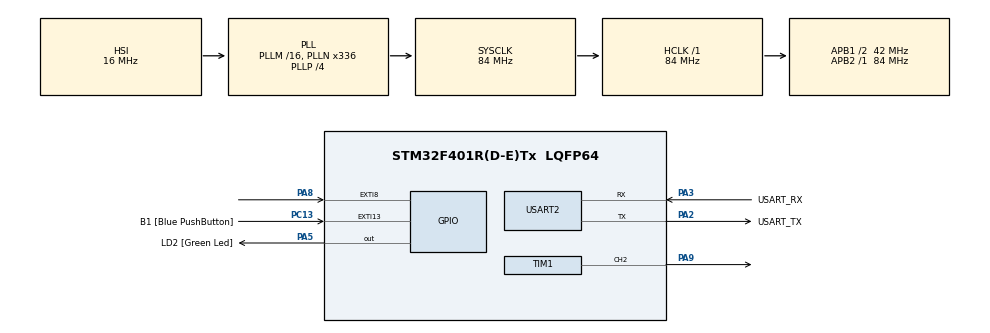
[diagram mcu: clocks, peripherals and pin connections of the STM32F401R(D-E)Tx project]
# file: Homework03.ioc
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Mcu.Family=STM32F4
Mcu.Name=STM32F401R(D-E)Tx
Mcu.Package=LQFP64
NVIC.EXTI9_5_IRQn=true\:1\:0\:true\:false\:true\:true\:true\:true
NVIC.PriorityGroup=NVIC_PRIORITYGROUP_4
PA13.GPIO_Label=TMS
PA13.Mode=Trace_Asynchronous_SW
PA13.Signal=SYS_JTMS-SWDIO
PA14.GPIO_Label=TCK
PA14.Mode=Trace_Asynchronous_SW
PA14.Signal=SYS_JTCK-SWCLK
PA2.GPIO_Label=USART_TX
PA2.GPIO_Mode=GPIO_MODE_AF_PP
PA2.GPIO_PuPd=GPIO_NOPULL
PA2.GPIO_Speed=GPIO_SPEED_FREQ_LOW
PA2.Mode=Asynchronous
PA2.Signal=USART2_TX
PA3.GPIO_Label=USART_RX
PA3.GPIO_Mode=GPIO_MODE_AF_PP
PA3.GPIO_PuPd=GPIO_NOPULL
PA3.GPIO_Speed=GPIO_SPEED_FREQ_LOW
PA3.Mode=Asynchronous
PA3.Signal=USART2_RX
PA5.GPIO_Label=LD2 [Green Led]
PA5.GPIO_Mode=GPIO_MODE_OUTPUT_PP
PA5.GPIO_PuPd=GPIO_NOPULL
PA5.GPIO_Speed=GPIO_SPEED_FREQ_LOW
PA5.Signal=GPIO_Output
PA8.GPIO_ModeDefaultEXTI=GPIO_MODE_IT_RISING
PA8.Signal=GPXTI8
PA9.Signal=S_TIM1_CH2
PB3.GPIO_Label=SWO
PB3.Mode=Trace_Asynchronous_SW
PB3.Signal=SYS_JTDO-SWO
PC13-ANTI_TAMP.GPIO_Label=B1 [Blue PushButton]
PC13-ANTI_TAMP.GPIO_ModeDefaultEXTI=GPIO_MODE_IT_FALLING
PC13-ANTI_TAMP.GPIO_PuPd=GPIO_NOPULL
PC13-ANTI_TAMP.Signal=GPXTI13
PC14-OSC32_IN.Mode=LSE-External-Oscillator
PC14-OSC32_IN.Signal=RCC_OSC32_IN
PC15-OSC32_OUT.Mode=LSE-External-Oscillator
PC15-OSC32_OUT.Signal=RCC_OSC32_OUT
PH0\ -\ OSC_IN.Mode=HSE-External-Clock-Source
PH0\ -\ OSC_IN.Signal=RCC_OSC_IN
PH1\ -\ OSC_OUT.Mode=HSE-External-Clock-Source
PH1\ -\ OSC_OUT.Signal=RCC_OSC_OUT
ProjectManager.HeapSize=0x200
ProjectManager.StackSize=0x400
ProjectManager.TargetToolchain=STM32CubeIDE
RCC.48MHZClocksFreq_Value=48000000
RCC.AHBFreq_Value=84000000
RCC.APB1CLKDivider=RCC_HCLK_DIV2
RCC.APB1Freq_Value=42000000
RCC.APB1TimFreq_Value=84000000
RCC.APB2Freq_Value=84000000
RCC.APB2TimFreq_Value=84000000
RCC.CortexFreq_Value=84000000
RCC.HCLKFreq_Value=84000000
RCC.HSE_VALUE=8000000
RCC.HSI_VALUE=16000000
RCC.PLLN=336
RCC.PLLP=RCC_PLLP_DIV4
RCC.PLLQ=7
RCC.SYSCLKFreq_VALUE=84000000
RCC.SYSCLKSource=RCC_SYSCLKSOURCE_PLLCLK
RCC.VCOOutputFreq_Value=336000000
SH.S_TIM1_CH2.0=TIM1_CH2,PWM Generation2 CH2
TIM1.Channel-PWM\ Generation2\ CH2=TIM_CHANNEL_2
USART2.VirtualMode=VM_ASYNC
board=NUCLEO-F401RE

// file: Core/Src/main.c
/* USER CODE BEGIN Header */
/**
  ******************************************************************************
  * @file           : main.c
  * @brief          : Main program body
  ******************************************************************************
  * @attention
  *
  * Copyright (c) 2025 STMicroelectronics.
  * All rights reserved.
  *
  * This software is licensed under terms that can be found in the LICENSE file
  * in the root directory of this software component.
  * If no LICENSE file comes with this software, it is provided AS-IS.
  *
  ******************************************************************************
  */
/* USER CODE END Header */
#include "main.h"

/* USER CODE BEGIN PTD */
typedef struct {
	uint32_t freq;
	uint32_t duration;
} note_t;

/* USER CODE END PTD */

/* USER CODE BEGIN PD */

#define DO4 3206
#define REb4 3032
#define RE4 2857
#define Mib4 2700
#define MI4 2545
#define FA4 2406
#define SOLb4 2270
#define SOL4 2142
#define LAb4 2024
#define LA4 1909
#define SIb4 1802
#define SI4 1700

#define REb5 1506
#define FA5 1203

#define TEMPO 100
/* USER CODE END PD */

TIM_HandleTypeDef htim1;

UART_HandleTypeDef huart2;

/* USER CODE BEGIN PV */

note_t song[] = {
		{ .freq = DO4 , .duration = 2 },
		{ .freq = RE4 , .duration = 2 },
		{ .freq = MI4 , .duration = 2 },
		{ .freq = FA4 , .duration = 2 },
		{ .freq = SOL4 , .duration = 2 }
};
/* USER CODE END PV */

void SystemClock_Config(void);
static void MX_GPIO_Init(void);
static void MX_USART2_UART_Init(void);
static void MX_TIM1_Init(void);

/* USER CODE BEGIN 0 */
void Set_Note(note_t n) {

	  /* USER CODE BEGIN TIM1_Init 0 */

	  /* USER CODE END TIM1_Init 0 */

	  TIM_MasterConfigTypeDef sMasterConfig = {0};
	  TIM_OC_InitTypeDef sConfigOC = {0};
	  TIM_BreakDeadTimeConfigTypeDef sBreakDeadTimeConfig = {0};

	  /* USER CODE BEGIN TIM1_Init 1 */

	  /* USER CODE END TIM1_Init 1 */
	  htim1.Instance = TIM1;
	  htim1.Init.Prescaler = 99;
	  htim1.Init.CounterMode = TIM_COUNTERMODE_UP;
	  htim1.Init.Period = n.freq - 1;
	  htim1.Init.ClockDivision = TIM_CLOCKDIVISION_DIV1;
	  htim1.Init.RepetitionCounter = 0;
	  htim1.Init.AutoReloadPreload = TIM_AUTORELOAD_PRELOAD_DISABLE;
	  if (HAL_TIM_PWM_Init(&htim1) != HAL_OK)
	  {
	    Error_Handler();
	  }
	  sMasterConfig.MasterOutputTrigger = TIM_TRGO_RESET;
	  sMasterConfig.MasterSlaveMode = TIM_MASTERSLAVEMODE_DISABLE;
	  if (HAL_TIMEx_MasterConfigSynchronization(&htim1, &sMasterConfig) != HAL_OK)
	  {
	    Error_Handler();
	  }
	  sConfigOC.OCMode = TIM_OCMODE_PWM1;
	  sConfigOC.Pulse = n.freq / 2 - 1;
	  sConfigOC.OCPolarity = TIM_OCPOLARITY_HIGH;
	  sConfigOC.OCNPolarity = TIM_OCNPOLARITY_HIGH;
	  sConfigOC.OCFastMode = TIM_OCFAST_DISABLE;
	  sConfigOC.OCIdleState = TIM_OCIDLESTATE_RESET;
	  sConfigOC.OCNIdleState = TIM_OCNIDLESTATE_RESET;
	  if (HAL_TIM_PWM_ConfigChannel(&htim1, &sConfigOC, TIM_CHANNEL_2) != HAL_OK)
	  {
	    Error_Handler();
	  }
	  sBreakDeadTimeConfig.OffStateRunMode = TIM_OSSR_DISABLE;
	  sBreakDeadTimeConfig.OffStateIDLEMode = TIM_OSSI_DISABLE;
	  sBreakDeadTimeConfig.LockLevel = TIM_LOCKLEVEL_OFF;
	  sBreakDeadTimeConfig.DeadTime = 0;
	  sBreakDeadTimeConfig.BreakState = TIM_BREAK_DISABLE;
	  sBreakDeadTimeConfig.BreakPolarity = TIM_BREAKPOLARITY_HIGH;
	  sBreakDeadTimeConfig.AutomaticOutput = TIM_AUTOMATICOUTPUT_DISABLE;
	  if (HAL_TIMEx_ConfigBreakDeadTime(&htim1, &sBreakDeadTimeConfig) != HAL_OK)
	  {
	    Error_Handler();
	  }
	  /* USER CODE BEGIN TIM1_Init 2 */

	  /* USER CODE END TIM1_Init 2 */
	  HAL_TIM_MspPostInit(&htim1);

}

void playsong() {
	uint8_t i=0;
	  for(i=0; i<sizeof(song)/sizeof(song[0]); i++){
		  Set_Note(song[i]);
		  HAL_TIM_PWM_Start(&htim1, TIM_CHANNEL_2);
		  HAL_Delay(song[i].duration * TEMPO);
		  HAL_TIM_PWM_Stop(&htim1, TIM_CHANNEL_2);
	  }
}

void HAL_GPIO_EXTI_Callback(uint16_t GPIO_Pin) {
	if (GPIO_Pin == GPIO_PIN_8) {
		playsong();
		__HAL_GPIO_EXTI_CLEAR_IT(GPIO_PIN_8);
	}
}
/* USER CODE END 0 */

int main(void)
{

  /* MCU Configuration--------------------------------------------------------*/

  /* Reset of all peripherals, Initializes the Flash interface and the Systick. */
  HAL_Init();

  /* Configure the system clock */
  SystemClock_Config();

  /* Initialize all configured peripherals */
  MX_GPIO_Init();
  MX_USART2_UART_Init();
  MX_TIM1_Init();

  /* Infinite loop */
  while (1)
  {

  }
}

void SystemClock_Config(void)
{
  RCC_OscInitTypeDef RCC_OscInitStruct = {0};
  RCC_ClkInitTypeDef RCC_ClkInitStruct = {0};

  /** Configure the main internal regulator output voltage
  */
  __HAL_RCC_PWR_CLK_ENABLE();
  __HAL_PWR_VOLTAGESCALING_CONFIG(PWR_REGULATOR_VOLTAGE_SCALE2);

  /** Initializes the RCC Oscillators according to the specified parameters
  * in the RCC_OscInitTypeDef structure.
  */
  RCC_OscInitStruct.OscillatorType = RCC_OSCILLATORTYPE_HSI;
  RCC_OscInitStruct.HSIState = RCC_HSI_ON;
  RCC_OscInitStruct.HSICalibrationValue = RCC_HSICALIBRATION_DEFAULT;
  RCC_OscInitStruct.PLL.PLLState = RCC_PLL_ON;
  RCC_OscInitStruct.PLL.PLLSource = RCC_PLLSOURCE_HSI;
  RCC_OscInitStruct.PLL.PLLM = 16;
  RCC_OscInitStruct.PLL.PLLN = 336;
  RCC_OscInitStruct.PLL.PLLP = RCC_PLLP_DIV4;
  RCC_OscInitStruct.PLL.PLLQ = 7;
  if (HAL_RCC_OscConfig(&RCC_OscInitStruct) != HAL_OK)
  {
    Error_Handler();
  }

  /** Initializes the CPU, AHB and APB buses clocks
  */
  RCC_ClkInitStruct.ClockType = RCC_CLOCKTYPE_HCLK|RCC_CLOCKTYPE_SYSCLK
                              |RCC_CLOCKTYPE_PCLK1|RCC_CLOCKTYPE_PCLK2;
  RCC_ClkInitStruct.SYSCLKSource = RCC_SYSCLKSOURCE_PLLCLK;
  RCC_ClkInitStruct.AHBCLKDivider = RCC_SYSCLK_DIV1;
  RCC_ClkInitStruct.APB1CLKDivider = RCC_HCLK_DIV2;
  RCC_ClkInitStruct.APB2CLKDivider = RCC_HCLK_DIV1;

  if (HAL_RCC_ClockConfig(&RCC_ClkInitStruct, FLASH_LATENCY_2) != HAL_OK)
  {
    Error_Handler();
  }
}

static void MX_TIM1_Init(void)
{

  TIM_MasterConfigTypeDef sMasterConfig = {0};
  TIM_OC_InitTypeDef sConfigOC = {0};
  TIM_BreakDeadTimeConfigTypeDef sBreakDeadTimeConfig = {0};

  htim1.Instance = TIM1;
  htim1.Init.Prescaler = 0;
  htim1.Init.CounterMode = TIM_COUNTERMODE_UP;
  htim1.Init.Period = 65535;
  htim1.Init.ClockDivision = TIM_CLOCKDIVISION_DIV1;
  htim1.Init.RepetitionCounter = 0;
  htim1.Init.AutoReloadPreload = TIM_AUTORELOAD_PRELOAD_DISABLE;
  if (HAL_TIM_PWM_Init(&htim1) != HAL_OK)
  {
    Error_Handler();
  }
  sMasterConfig.MasterOutputTrigger = TIM_TRGO_RESET;
  sMasterConfig.MasterSlaveMode = TIM_MASTERSLAVEMODE_DISABLE;
  if (HAL_TIMEx_MasterConfigSynchronization(&htim1, &sMasterConfig) != HAL_OK)
  {
    Error_Handler();
  }
  sConfigOC.OCMode = TIM_OCMODE_PWM1;
  sConfigOC.Pulse = 0;
  sConfigOC.OCPolarity = TIM_OCPOLARITY_HIGH;
  sConfigOC.OCNPolarity = TIM_OCNPOLARITY_HIGH;
  sConfigOC.OCFastMode = TIM_OCFAST_DISABLE;
  sConfigOC.OCIdleState = TIM_OCIDLESTATE_RESET;
  sConfigOC.OCNIdleState = TIM_OCNIDLESTATE_RESET;
  if (HAL_TIM_PWM_ConfigChannel(&htim1, &sConfigOC, TIM_CHANNEL_2) != HAL_OK)
  {
    Error_Handler();
  }
  sBreakDeadTimeConfig.OffStateRunMode = TIM_OSSR_DISABLE;
  sBreakDeadTimeConfig.OffStateIDLEMode = TIM_OSSI_DISABLE;
  sBreakDeadTimeConfig.LockLevel = TIM_LOCKLEVEL_OFF;
  sBreakDeadTimeConfig.DeadTime = 0;
  sBreakDeadTimeConfig.BreakState = TIM_BREAK_DISABLE;
  sBreakDeadTimeConfig.BreakPolarity = TIM_BREAKPOLARITY_HIGH;
  sBreakDeadTimeConfig.AutomaticOutput = TIM_AUTOMATICOUTPUT_DISABLE;
  if (HAL_TIMEx_ConfigBreakDeadTime(&htim1, &sBreakDeadTimeConfig) != HAL_OK)
  {
    Error_Handler();
  }
  HAL_TIM_MspPostInit(&htim1);

}

static void MX_USART2_UART_Init(void)
{

  huart2.Instance = USART2;
  huart2.Init.BaudRate = 115200;
  huart2.Init.WordLength = UART_WORDLENGTH_8B;
  huart2.Init.StopBits = UART_STOPBITS_1;
  huart2.Init.Parity = UART_PARITY_NONE;
  huart2.Init.Mode = UART_MODE_TX_RX;
  huart2.Init.HwFlowCtl = UART_HWCONTROL_NONE;
  huart2.Init.OverSampling = UART_OVERSAMPLING_16;
  if (HAL_UART_Init(&huart2) != HAL_OK)
  {
    Error_Handler();
  }

}

static void MX_GPIO_Init(void)
{
  GPIO_InitTypeDef GPIO_InitStruct = {0};

  /* GPIO Ports Clock Enable */
  __HAL_RCC_GPIOC_CLK_ENABLE();
  __HAL_RCC_GPIOH_CLK_ENABLE();
  __HAL_RCC_GPIOA_CLK_ENABLE();
  __HAL_RCC_GPIOB_CLK_ENABLE();

  /*Configure GPIO pin Output Level */
  HAL_GPIO_WritePin(LD2_GPIO_Port, LD2_Pin, GPIO_PIN_RESET);

  /*Configure GPIO pin : B1_Pin */
  GPIO_InitStruct.Pin = B1_Pin;
  GPIO_InitStruct.Mode = GPIO_MODE_IT_FALLING;
  GPIO_InitStruct.Pull = GPIO_NOPULL;
  HAL_GPIO_Init(B1_GPIO_Port, &GPIO_InitStruct);

  /*Configure GPIO pin : LD2_Pin */
  GPIO_InitStruct.Pin = LD2_Pin;
  GPIO_InitStruct.Mode = GPIO_MODE_OUTPUT_PP;
  GPIO_InitStruct.Pull = GPIO_NOPULL;
  GPIO_InitStruct.Speed = GPIO_SPEED_FREQ_LOW;
  HAL_GPIO_Init(LD2_GPIO_Port, &GPIO_InitStruct);

  /*Configure GPIO pin : PA8 */
  GPIO_InitStruct.Pin = GPIO_PIN_8;
  GPIO_InitStruct.Mode = GPIO_MODE_IT_RISING;
  GPIO_InitStruct.Pull = GPIO_NOPULL;
  HAL_GPIO_Init(GPIOA, &GPIO_InitStruct);

  /* EXTI interrupt init*/
  HAL_NVIC_SetPriority(EXTI9_5_IRQn, 1, 0);
  HAL_NVIC_EnableIRQ(EXTI9_5_IRQn);

}

void Error_Handler(void)
{
  __disable_irq();
  while (1)
  {
  }
}
